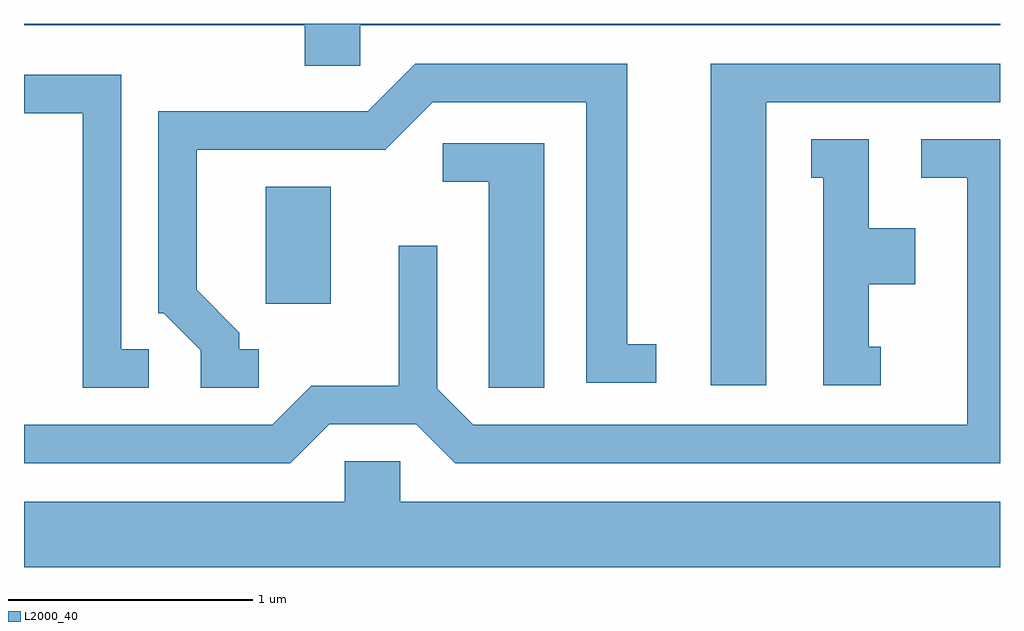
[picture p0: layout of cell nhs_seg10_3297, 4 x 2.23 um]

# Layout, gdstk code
import gdstk
lib = gdstk.Library(unit=1e-6, precision=1e-09)
def R(c, l, rs):  # rectangles x0, y0, x1, y1
    for r in rs: c.add(gdstk.rectangle(r[:2], r[2:], *l))
def P(c, l, *ps):  # polygons
    for p in ps: c.add(gdstk.Polygon(p, *l))
L2000_40 = (2000, 40)

nhs_seg10_3297 = lib.new_cell('nhs_seg10_3297')
R(nhs_seg10_3297, L2000_40, [(282.601,2179.376,282.869,2179.854)])
P(nhs_seg10_3297, L2000_40, [(282.989,2180.516),(285.611,2180.516),(285.611,2180.522),(281.611,2180.522),(281.611,2180.516),(282.761,2180.516),(282.761,2180.351),(282.989,2180.351)],
  [(282.573,2179.189),(282.494,2179.189),(282.494,2179.257),(282.319,2179.432),(282.319,2180.006),(283.092,2180.006),(283.287,2180.201),(283.916,2180.201),(283.916,2179.051),(284.203,2179.051),(284.203,2179.209),(284.084,2179.209),(284.084,2180.359),(283.214,2180.359),(283.019,2180.164),(282.161,2180.164),(282.161,2179.336),(282.184,2179.336),(282.336,2179.184),(282.336,2179.031),(282.573,2179.031)],
  [(284.654,2180.201),(285.611,2180.201),(285.611,2180.359),(284.426,2180.359),(284.426,2179.041),(284.654,2179.041)],
  [(282.123,2179.189),(282.009,2179.189),(282.009,2180.314),(281.611,2180.314),(281.611,2180.156),(281.851,2180.156),(281.851,2179.031),(282.123,2179.031)],
  [(282.862,2178.881),(283.219,2178.881),(283.379,2178.721),(285.611,2178.721),(285.611,2180.049),(285.288,2180.049),(285.288,2179.891),(285.476,2179.891),(285.476,2178.879),(283.452,2178.879),(283.304,2179.027),(283.304,2179.613),(283.146,2179.613),(283.146,2179.039),(282.789,2179.039),(282.629,2178.879),(281.611,2178.879),(281.611,2178.721),(282.702,2178.721)],
  [(285.123,2179.199),(285.074,2179.199),(285.074,2179.456),(285.264,2179.456),(285.264,2179.684),(285.074,2179.684),(285.074,2180.049),(284.838,2180.049),(284.838,2179.891),(284.886,2179.891),(284.886,2179.041),(285.123,2179.041)],
  [(283.744,2180.034),(283.328,2180.034),(283.328,2179.876),(283.516,2179.876),(283.516,2179.031),(283.744,2179.031)],
  [(285.611,2178.564),(283.154,2178.564),(283.154,2178.729),(282.926,2178.729),(282.926,2178.564),(281.611,2178.564),(281.611,2178.296),(285.611,2178.296)])

lib.write_gds('nhs_seg10_3297.gds')
